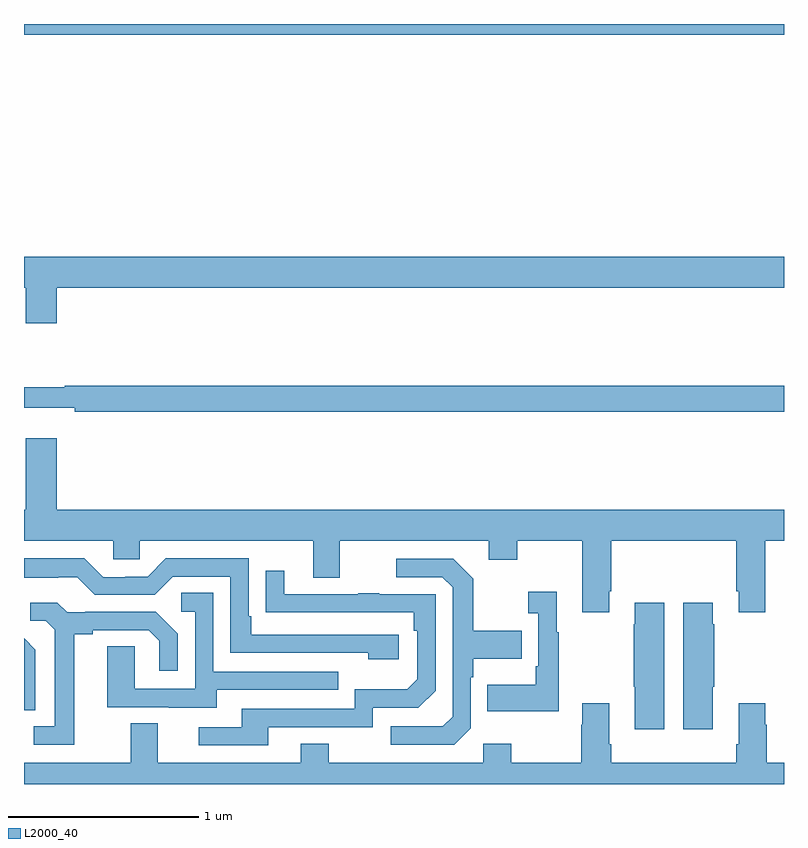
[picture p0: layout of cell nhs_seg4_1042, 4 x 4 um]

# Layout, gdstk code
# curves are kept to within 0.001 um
import gdstk
lib = gdstk.Library(unit=1e-6, precision=1e-09)
def R(c, l, rs):  # rectangles x0, y0, x1, y1
    for r in rs: c.add(gdstk.rectangle(r[:2], r[2:], *l))
def P(c, l, *ps):  # polygons
    for p in ps: c.add(gdstk.Polygon(p, *l))
L2000_40 = (2000, 40)

nhs_seg4_1042 = lib.new_cell('nhs_seg4_1042')
R(nhs_seg4_1042, L2000_40, [(165,772.844,169,772.9)])
P(nhs_seg4_1042, L2000_40, [(165.172,771.512),(169,771.512),(169,771.676),(165,771.676),(165,771.512),(165.008,771.512),(165.008,771.324),(165.172,771.324)],
  [(169,770.996),(165.214,770.996),(165.214,770.989),(165,770.989),(165,770.879),(165.268,770.879),(165.268,770.86),(169,770.86)],
  [(168.079,769.915),(168.092,769.915),(168.092,770.18),(168.749,770.18),(168.749,769.915),(168.761,769.915),(168.761,769.803),(168.901,769.803),(168.901,770.18),(169,770.18),(169,770.344),(165.172,770.344),(165.172,770.719),(165.008,770.719),(165.008,770.344),(165,770.344),(165,770.18),(165.471,770.18),(165.471,770.082),(165.609,770.082),(165.609,770.18),(166.523,770.18),(166.523,769.986),(166.663,769.986),(166.663,770.18),(167.447,770.18),(167.447,770.081),(167.595,770.081),(167.595,770.18),(167.939,770.18),(167.939,769.803),(168.079,769.803)],
  [(166.972,769.686),(166.195,769.686),(166.195,769.783),(166.182,769.783),(166.182,770.088),(165.747,770.088),(165.651,769.992),(165.533,769.992),(165.533,769.989),(165.417,769.989),(165.317,770.089),(165,770.089),(165,769.985),(165.179,769.985),(165.179,769.989),(165.279,769.989),(165.372,769.896),(165.687,769.896),(165.783,769.992),(166.086,769.992),(166.086,769.59),(166.811,769.59),(166.811,769.556),(166.972,769.556)],
  [(167.352,769.194),(167.352,769.463),(167.365,769.463),(167.365,769.559),(167.621,769.559),(167.621,769.707),(167.365,769.707),(167.365,769.979),(167.259,770.085),(166.959,770.085),(166.959,769.989),(167.202,769.989),(167.256,769.935),(167.256,769.254),(167.205,769.203),(166.929,769.203),(166.929,769.107),(167.265,769.107)],
  [(166.285,769.2),(166.836,769.2),(166.836,769.302),(167.076,769.302),(167.166,769.392),(167.166,769.899),(166.871,769.899),(166.871,769.904),(166.759,769.904),(166.759,769.899),(166.369,769.899),(166.369,770.023),(166.273,770.023),(166.273,769.804),(167.05,769.803),(167.05,769.706),(167.07,769.706),(167.07,769.452),(167.017,769.399),(166.74,769.399),(166.74,769.296),(166.145,769.296),(166.145,769.2),(165.921,769.2),(165.921,769.104),(166.285,769.104)],
  [(167.815,769.699),(167.803,769.699),(167.803,769.912),(167.655,769.912),(167.655,769.799),(167.706,769.799),(167.706,769.519),(167.694,769.519),(167.694,769.423),(167.437,769.423),(167.437,769.283),(167.815,769.283)],
  [(166.015,769.395),(166.655,769.395),(166.655,769.491),(165.996,769.491),(165.996,769.907),(165.828,769.907),(165.828,769.806),(165.9,769.806),(165.9,769.401),(165.582,769.401),(165.582,769.625),(165.437,769.625),(165.437,769.305),(165.761,769.305),(165.761,769.301),(166.015,769.301)],
  [(168.625,769.411),(168.633,769.411),(168.633,769.742),(168.625,769.742),(168.625,769.855),(168.47,769.855),(168.47,769.188),(168.625,769.188)],
  [(165.265,769.688),(165.361,769.688),(165.361,769.71),(165.656,769.71),(165.713,769.653),(165.713,769.497),(165.81,769.497),(165.81,769.69),(165.694,769.806),(165.322,769.806),(165.322,769.803),(165.228,769.803),(165.176,769.855),(165.033,769.855),(165.033,769.758),(165.114,769.758),(165.161,769.711),(165.161,769.203),(165.051,769.203),(165.051,769.107),(165.265,769.107)],
  [(168.37,769.855),(168.215,769.855),(168.215,769.742),(168.208,769.742),(168.208,769.411),(168.215,769.411),(168.215,769.188),(168.37,769.188)],
  [(165.06,769.606),(165,769.666),(165,769.288),(165.06,769.288)],
  [(169,769.012),(168.909,769.012),(168.909,769.211),(168.901,769.211),(168.901,769.324),(168.761,769.324),(168.761,769.108),(168.749,769.108),(168.749,769.012),(168.092,769.012),(168.092,769.108),(168.079,769.108),(168.079,769.324),(167.939,769.324),(167.939,769.211),(167.932,769.211),(167.932,769.012),(167.565,769.012),(167.565,769.111),(167.418,769.111),(167.418,769.012),(166.605,769.012),(166.605,769.111),(166.457,769.111),(166.457,769.012),(165.703,769.012),(165.703,769.22),(165.563,769.22),(165.563,769.012),(165,769.012),(165,768.9),(169,768.9)])

lib.write_gds('nhs_seg4_1042.gds')
